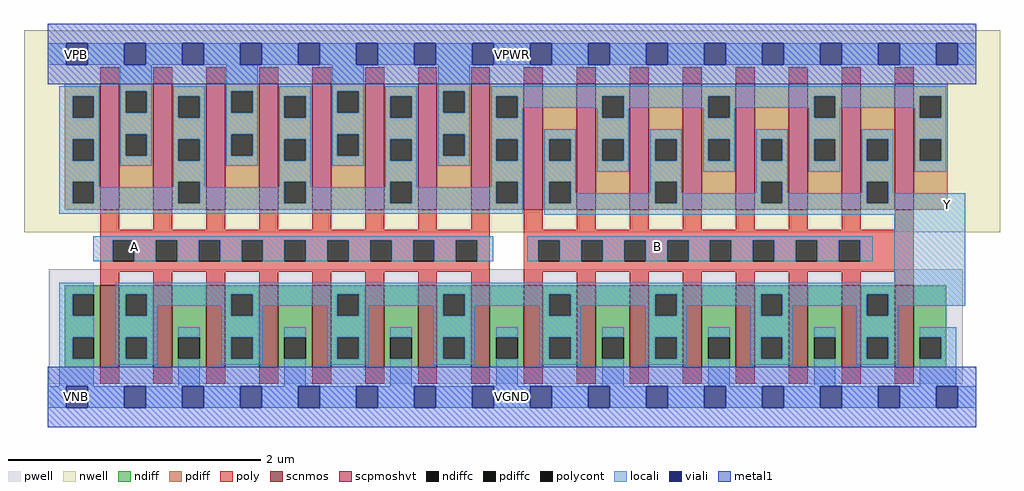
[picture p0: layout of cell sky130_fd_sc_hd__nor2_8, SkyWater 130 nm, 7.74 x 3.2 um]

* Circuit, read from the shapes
.subckt sky130_fd_sc_hd__nor2_8 A B VGND VNB VPB VPWR Y
XM1 Y A VGND VNB sky130_fd_pr__nfet_01v8 w=0.65 l=0.15 m=8
XM2 Y B VGND VNB sky130_fd_pr__nfet_01v8 w=0.65 l=0.15 m=8
XM3 VPWR A n1 VPB sky130_fd_pr__pfet_01v8_hvt w=1 l=0.15 m=8
XM4 Y B n1 VPB sky130_fd_pr__pfet_01v8_hvt w=1 l=0.15 m=8
.ends

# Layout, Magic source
magic
tech sky130B
magscale 1 2
<< nwell >>
rect -38 261 1510 582
<< pwell >>
rect 1 21 1451 203
rect 29 -17 63 21
<< scnmos >>
rect 83 47 113 177
rect 167 47 197 177
rect 251 47 281 177
rect 335 47 365 177
rect 419 47 449 177
rect 503 47 533 177
rect 587 47 617 177
rect 671 47 701 177
rect 755 47 785 177
rect 839 47 869 177
rect 923 47 953 177
rect 1007 47 1037 177
rect 1091 47 1121 177
rect 1175 47 1205 177
rect 1259 47 1289 177
rect 1343 47 1373 177
<< scpmoshvt >>
rect 83 297 113 497
rect 167 297 197 497
rect 251 297 281 497
rect 335 297 365 497
rect 419 297 449 497
rect 503 297 533 497
rect 587 297 617 497
rect 671 297 701 497
rect 755 297 785 497
rect 839 297 869 497
rect 923 297 953 497
rect 1007 297 1037 497
rect 1091 297 1121 497
rect 1175 297 1205 497
rect 1259 297 1289 497
rect 1343 297 1373 497
<< ndiff >>
rect 27 163 83 177
rect 27 129 39 163
rect 73 129 83 163
rect 27 95 83 129
rect 27 61 39 95
rect 73 61 83 95
rect 27 47 83 61
rect 113 163 167 177
rect 113 129 123 163
rect 157 129 167 163
rect 113 95 167 129
rect 113 61 123 95
rect 157 61 167 95
rect 113 47 167 61
rect 197 95 251 177
rect 197 61 207 95
rect 241 61 251 95
rect 197 47 251 61
rect 281 163 335 177
rect 281 129 291 163
rect 325 129 335 163
rect 281 95 335 129
rect 281 61 291 95
rect 325 61 335 95
rect 281 47 335 61
rect 365 95 419 177
rect 365 61 375 95
rect 409 61 419 95
rect 365 47 419 61
rect 449 163 503 177
rect 449 129 459 163
rect 493 129 503 163
rect 449 95 503 129
rect 449 61 459 95
rect 493 61 503 95
rect 449 47 503 61
rect 533 95 587 177
rect 533 61 543 95
rect 577 61 587 95
rect 533 47 587 61
rect 617 163 671 177
rect 617 129 627 163
rect 661 129 671 163
rect 617 95 671 129
rect 617 61 627 95
rect 661 61 671 95
rect 617 47 671 61
rect 701 95 755 177
rect 701 61 711 95
rect 745 61 755 95
rect 701 47 755 61
rect 785 163 839 177
rect 785 129 795 163
rect 829 129 839 163
rect 785 95 839 129
rect 785 61 795 95
rect 829 61 839 95
rect 785 47 839 61
rect 869 95 923 177
rect 869 61 879 95
rect 913 61 923 95
rect 869 47 923 61
rect 953 163 1007 177
rect 953 129 963 163
rect 997 129 1007 163
rect 953 95 1007 129
rect 953 61 963 95
rect 997 61 1007 95
rect 953 47 1007 61
rect 1037 95 1091 177
rect 1037 61 1047 95
rect 1081 61 1091 95
rect 1037 47 1091 61
rect 1121 163 1175 177
rect 1121 129 1131 163
rect 1165 129 1175 163
rect 1121 95 1175 129
rect 1121 61 1131 95
rect 1165 61 1175 95
rect 1121 47 1175 61
rect 1205 95 1259 177
rect 1205 61 1215 95
rect 1249 61 1259 95
rect 1205 47 1259 61
rect 1289 163 1343 177
rect 1289 129 1299 163
rect 1333 129 1343 163
rect 1289 95 1343 129
rect 1289 61 1299 95
rect 1333 61 1343 95
rect 1289 47 1343 61
rect 1373 95 1425 177
rect 1373 61 1383 95
rect 1417 61 1425 95
rect 1373 47 1425 61
<< pdiff >>
rect 27 477 83 497
rect 27 443 39 477
rect 73 443 83 477
rect 27 409 83 443
rect 27 375 39 409
rect 73 375 83 409
rect 27 341 83 375
rect 27 307 39 341
rect 73 307 83 341
rect 27 297 83 307
rect 113 485 167 497
rect 113 451 123 485
rect 157 451 167 485
rect 113 417 167 451
rect 113 383 123 417
rect 157 383 167 417
rect 113 297 167 383
rect 197 477 251 497
rect 197 443 207 477
rect 241 443 251 477
rect 197 409 251 443
rect 197 375 207 409
rect 241 375 251 409
rect 197 341 251 375
rect 197 307 207 341
rect 241 307 251 341
rect 197 297 251 307
rect 281 485 335 497
rect 281 451 291 485
rect 325 451 335 485
rect 281 417 335 451
rect 281 383 291 417
rect 325 383 335 417
rect 281 297 335 383
rect 365 477 419 497
rect 365 443 375 477
rect 409 443 419 477
rect 365 409 419 443
rect 365 375 375 409
rect 409 375 419 409
rect 365 341 419 375
rect 365 307 375 341
rect 409 307 419 341
rect 365 297 419 307
rect 449 485 503 497
rect 449 451 459 485
rect 493 451 503 485
rect 449 417 503 451
rect 449 383 459 417
rect 493 383 503 417
rect 449 297 503 383
rect 533 477 587 497
rect 533 443 543 477
rect 577 443 587 477
rect 533 409 587 443
rect 533 375 543 409
rect 577 375 587 409
rect 533 341 587 375
rect 533 307 543 341
rect 577 307 587 341
rect 533 297 587 307
rect 617 485 671 497
rect 617 451 627 485
rect 661 451 671 485
rect 617 417 671 451
rect 617 383 627 417
rect 661 383 671 417
rect 617 297 671 383
rect 701 477 755 497
rect 701 443 711 477
rect 745 443 755 477
rect 701 409 755 443
rect 701 375 711 409
rect 745 375 755 409
rect 701 341 755 375
rect 701 307 711 341
rect 745 307 755 341
rect 701 297 755 307
rect 785 409 839 497
rect 785 375 795 409
rect 829 375 839 409
rect 785 341 839 375
rect 785 307 795 341
rect 829 307 839 341
rect 785 297 839 307
rect 869 477 923 497
rect 869 443 879 477
rect 913 443 923 477
rect 869 409 923 443
rect 869 375 879 409
rect 913 375 923 409
rect 869 297 923 375
rect 953 409 1007 497
rect 953 375 963 409
rect 997 375 1007 409
rect 953 341 1007 375
rect 953 307 963 341
rect 997 307 1007 341
rect 953 297 1007 307
rect 1037 477 1091 497
rect 1037 443 1047 477
rect 1081 443 1091 477
rect 1037 409 1091 443
rect 1037 375 1047 409
rect 1081 375 1091 409
rect 1037 297 1091 375
rect 1121 409 1175 497
rect 1121 375 1131 409
rect 1165 375 1175 409
rect 1121 341 1175 375
rect 1121 307 1131 341
rect 1165 307 1175 341
rect 1121 297 1175 307
rect 1205 477 1259 497
rect 1205 443 1215 477
rect 1249 443 1259 477
rect 1205 409 1259 443
rect 1205 375 1215 409
rect 1249 375 1259 409
rect 1205 297 1259 375
rect 1289 409 1343 497
rect 1289 375 1299 409
rect 1333 375 1343 409
rect 1289 341 1343 375
rect 1289 307 1299 341
rect 1333 307 1343 341
rect 1289 297 1343 307
rect 1373 477 1427 497
rect 1373 443 1383 477
rect 1417 443 1427 477
rect 1373 409 1427 443
rect 1373 375 1383 409
rect 1417 375 1427 409
rect 1373 297 1427 375
<< ndiffc >>
rect 39 129 73 163
rect 39 61 73 95
rect 123 129 157 163
rect 123 61 157 95
rect 207 61 241 95
rect 291 129 325 163
rect 291 61 325 95
rect 375 61 409 95
rect 459 129 493 163
rect 459 61 493 95
rect 543 61 577 95
rect 627 129 661 163
rect 627 61 661 95
rect 711 61 745 95
rect 795 129 829 163
rect 795 61 829 95
rect 879 61 913 95
rect 963 129 997 163
rect 963 61 997 95
rect 1047 61 1081 95
rect 1131 129 1165 163
rect 1131 61 1165 95
rect 1215 61 1249 95
rect 1299 129 1333 163
rect 1299 61 1333 95
rect 1383 61 1417 95
<< pdiffc >>
rect 39 443 73 477
rect 39 375 73 409
rect 39 307 73 341
rect 123 451 157 485
rect 123 383 157 417
rect 207 443 241 477
rect 207 375 241 409
rect 207 307 241 341
rect 291 451 325 485
rect 291 383 325 417
rect 375 443 409 477
rect 375 375 409 409
rect 375 307 409 341
rect 459 451 493 485
rect 459 383 493 417
rect 543 443 577 477
rect 543 375 577 409
rect 543 307 577 341
rect 627 451 661 485
rect 627 383 661 417
rect 711 443 745 477
rect 711 375 745 409
rect 711 307 745 341
rect 795 375 829 409
rect 795 307 829 341
rect 879 443 913 477
rect 879 375 913 409
rect 963 375 997 409
rect 963 307 997 341
rect 1047 443 1081 477
rect 1047 375 1081 409
rect 1131 375 1165 409
rect 1131 307 1165 341
rect 1215 443 1249 477
rect 1215 375 1249 409
rect 1299 375 1333 409
rect 1299 307 1333 341
rect 1383 443 1417 477
rect 1383 375 1417 409
<< poly >>
rect 83 497 113 523
rect 167 497 197 523
rect 251 497 281 523
rect 335 497 365 523
rect 419 497 449 523
rect 503 497 533 523
rect 587 497 617 523
rect 671 497 701 523
rect 755 497 785 523
rect 839 497 869 523
rect 923 497 953 523
rect 1007 497 1037 523
rect 1091 497 1121 523
rect 1175 497 1205 523
rect 1259 497 1289 523
rect 1343 497 1373 523
rect 83 265 113 297
rect 167 265 197 297
rect 251 265 281 297
rect 335 265 365 297
rect 419 265 449 297
rect 503 265 533 297
rect 587 265 617 297
rect 671 265 701 297
rect 83 249 701 265
rect 83 215 103 249
rect 137 215 171 249
rect 205 215 239 249
rect 273 215 307 249
rect 341 215 375 249
rect 409 215 443 249
rect 477 215 511 249
rect 545 215 579 249
rect 613 215 647 249
rect 681 215 701 249
rect 83 199 701 215
rect 83 177 113 199
rect 167 177 197 199
rect 251 177 281 199
rect 335 177 365 199
rect 419 177 449 199
rect 503 177 533 199
rect 587 177 617 199
rect 671 177 701 199
rect 755 265 785 297
rect 839 265 869 297
rect 923 265 953 297
rect 1007 265 1037 297
rect 1091 265 1121 297
rect 1175 265 1205 297
rect 1259 265 1289 297
rect 1343 265 1373 297
rect 755 249 1373 265
rect 755 215 778 249
rect 812 215 846 249
rect 880 215 914 249
rect 948 215 982 249
rect 1016 215 1050 249
rect 1084 215 1118 249
rect 1152 215 1186 249
rect 1220 215 1254 249
rect 1288 215 1373 249
rect 755 199 1373 215
rect 755 177 785 199
rect 839 177 869 199
rect 923 177 953 199
rect 1007 177 1037 199
rect 1091 177 1121 199
rect 1175 177 1205 199
rect 1259 177 1289 199
rect 1343 177 1373 199
rect 83 21 113 47
rect 167 21 197 47
rect 251 21 281 47
rect 335 21 365 47
rect 419 21 449 47
rect 503 21 533 47
rect 587 21 617 47
rect 671 21 701 47
rect 755 21 785 47
rect 839 21 869 47
rect 923 21 953 47
rect 1007 21 1037 47
rect 1091 21 1121 47
rect 1175 21 1205 47
rect 1259 21 1289 47
rect 1343 21 1373 47
<< polycont >>
rect 103 215 137 249
rect 171 215 205 249
rect 239 215 273 249
rect 307 215 341 249
rect 375 215 409 249
rect 443 215 477 249
rect 511 215 545 249
rect 579 215 613 249
rect 647 215 681 249
rect 778 215 812 249
rect 846 215 880 249
rect 914 215 948 249
rect 982 215 1016 249
rect 1050 215 1084 249
rect 1118 215 1152 249
rect 1186 215 1220 249
rect 1254 215 1288 249
<< locali >>
rect 0 527 29 561
rect 63 527 121 561
rect 155 527 213 561
rect 247 527 305 561
rect 339 527 397 561
rect 431 527 489 561
rect 523 527 581 561
rect 615 527 673 561
rect 707 527 765 561
rect 799 527 857 561
rect 891 527 949 561
rect 983 527 1041 561
rect 1075 527 1133 561
rect 1167 527 1225 561
rect 1259 527 1317 561
rect 1351 527 1409 561
rect 1443 527 1472 561
rect 18 477 81 493
rect 18 443 39 477
rect 73 443 81 477
rect 18 409 81 443
rect 18 375 39 409
rect 73 375 81 409
rect 18 341 81 375
rect 115 485 165 527
rect 115 451 123 485
rect 157 451 165 485
rect 115 417 165 451
rect 115 383 123 417
rect 157 383 165 417
rect 115 367 165 383
rect 199 477 249 493
rect 199 443 207 477
rect 241 443 249 477
rect 199 409 249 443
rect 199 375 207 409
rect 241 375 249 409
rect 18 307 39 341
rect 73 333 81 341
rect 199 341 249 375
rect 283 485 333 527
rect 283 451 291 485
rect 325 451 333 485
rect 283 417 333 451
rect 283 383 291 417
rect 325 383 333 417
rect 283 367 333 383
rect 367 477 417 493
rect 367 443 375 477
rect 409 443 417 477
rect 367 409 417 443
rect 367 375 375 409
rect 409 375 417 409
rect 199 333 207 341
rect 73 307 207 333
rect 241 333 249 341
rect 367 341 417 375
rect 451 485 501 527
rect 451 451 459 485
rect 493 451 501 485
rect 451 417 501 451
rect 451 383 459 417
rect 493 383 501 417
rect 451 367 501 383
rect 535 477 585 493
rect 535 443 543 477
rect 577 443 585 477
rect 535 409 585 443
rect 535 375 543 409
rect 577 375 585 409
rect 367 333 375 341
rect 241 307 375 333
rect 409 333 417 341
rect 535 341 585 375
rect 619 485 669 527
rect 619 451 627 485
rect 661 451 669 485
rect 619 417 669 451
rect 619 383 627 417
rect 661 383 669 417
rect 619 367 669 383
rect 703 477 1425 493
rect 703 443 711 477
rect 745 459 879 477
rect 745 443 753 459
rect 703 409 753 443
rect 871 443 879 459
rect 913 459 1047 477
rect 913 443 921 459
rect 703 375 711 409
rect 745 375 753 409
rect 535 333 543 341
rect 409 307 543 333
rect 577 333 585 341
rect 703 341 753 375
rect 703 333 711 341
rect 577 307 711 333
rect 745 307 753 341
rect 18 291 753 307
rect 787 409 837 425
rect 787 375 795 409
rect 829 375 837 409
rect 787 341 837 375
rect 871 409 921 443
rect 1039 443 1047 459
rect 1081 459 1215 477
rect 1081 443 1089 459
rect 871 375 879 409
rect 913 375 921 409
rect 871 357 921 375
rect 955 409 1005 425
rect 955 375 963 409
rect 997 375 1005 409
rect 787 307 795 341
rect 829 323 837 341
rect 955 341 1005 375
rect 1039 409 1089 443
rect 1207 443 1215 459
rect 1249 459 1383 477
rect 1249 443 1257 459
rect 1039 375 1047 409
rect 1081 375 1089 409
rect 1039 357 1089 375
rect 1123 409 1173 425
rect 1123 375 1131 409
rect 1165 375 1173 409
rect 955 323 963 341
rect 829 307 963 323
rect 997 323 1005 341
rect 1123 341 1173 375
rect 1207 409 1257 443
rect 1375 443 1383 459
rect 1417 443 1425 477
rect 1207 375 1215 409
rect 1249 375 1257 409
rect 1207 357 1257 375
rect 1291 409 1341 425
rect 1291 375 1299 409
rect 1333 375 1341 409
rect 1123 323 1131 341
rect 997 307 1131 323
rect 1165 323 1173 341
rect 1291 341 1341 375
rect 1375 409 1425 443
rect 1375 375 1383 409
rect 1417 375 1425 409
rect 1375 357 1425 375
rect 1291 323 1299 341
rect 1165 307 1299 323
rect 1333 323 1341 341
rect 1333 307 1455 323
rect 787 289 1455 307
rect 72 249 706 255
rect 72 215 103 249
rect 137 215 171 249
rect 205 215 239 249
rect 273 215 307 249
rect 341 215 375 249
rect 409 215 443 249
rect 477 215 511 249
rect 545 215 579 249
rect 613 215 647 249
rect 681 215 706 249
rect 760 249 1308 255
rect 760 215 778 249
rect 812 215 846 249
rect 880 215 914 249
rect 948 215 982 249
rect 1016 215 1050 249
rect 1084 215 1118 249
rect 1152 215 1186 249
rect 1220 215 1254 249
rect 1288 215 1308 249
rect 1342 181 1455 289
rect 18 163 73 181
rect 18 129 39 163
rect 18 95 73 129
rect 18 61 39 95
rect 18 17 73 61
rect 107 163 1455 181
rect 107 129 123 163
rect 157 145 291 163
rect 157 129 173 145
rect 107 95 173 129
rect 275 129 291 145
rect 325 145 459 163
rect 325 129 341 145
rect 107 61 123 95
rect 157 61 173 95
rect 107 51 173 61
rect 207 95 241 111
rect 207 17 241 61
rect 275 95 341 129
rect 443 129 459 145
rect 493 145 627 163
rect 493 129 509 145
rect 275 61 291 95
rect 325 61 341 95
rect 275 51 341 61
rect 375 95 409 111
rect 375 17 409 61
rect 443 95 509 129
rect 611 129 627 145
rect 661 145 795 163
rect 661 129 677 145
rect 443 61 459 95
rect 493 61 509 95
rect 443 51 509 61
rect 543 95 577 111
rect 543 17 577 61
rect 611 95 677 129
rect 779 129 795 145
rect 829 145 963 163
rect 829 129 845 145
rect 611 61 627 95
rect 661 61 677 95
rect 611 51 677 61
rect 711 95 745 111
rect 711 17 745 61
rect 779 95 845 129
rect 947 129 963 145
rect 997 145 1131 163
rect 997 129 1013 145
rect 779 61 795 95
rect 829 61 845 95
rect 779 51 845 61
rect 879 95 913 111
rect 879 17 913 61
rect 947 95 1013 129
rect 1115 129 1131 145
rect 1165 145 1299 163
rect 1165 129 1181 145
rect 947 61 963 95
rect 997 61 1013 95
rect 947 51 1013 61
rect 1047 95 1081 111
rect 1047 17 1081 61
rect 1115 95 1181 129
rect 1283 129 1299 145
rect 1333 145 1455 163
rect 1333 129 1349 145
rect 1115 61 1131 95
rect 1165 61 1181 95
rect 1115 51 1181 61
rect 1215 95 1249 111
rect 1215 17 1249 61
rect 1283 95 1349 129
rect 1283 61 1299 95
rect 1333 61 1349 95
rect 1283 51 1349 61
rect 1383 95 1441 111
rect 1417 61 1441 95
rect 1383 17 1441 61
rect 0 -17 29 17
rect 63 -17 121 17
rect 155 -17 213 17
rect 247 -17 305 17
rect 339 -17 397 17
rect 431 -17 489 17
rect 523 -17 581 17
rect 615 -17 673 17
rect 707 -17 765 17
rect 799 -17 857 17
rect 891 -17 949 17
rect 983 -17 1041 17
rect 1075 -17 1133 17
rect 1167 -17 1225 17
rect 1259 -17 1317 17
rect 1351 -17 1409 17
rect 1443 -17 1472 17
<< viali >>
rect 29 527 63 561
rect 121 527 155 561
rect 213 527 247 561
rect 305 527 339 561
rect 397 527 431 561
rect 489 527 523 561
rect 581 527 615 561
rect 673 527 707 561
rect 765 527 799 561
rect 857 527 891 561
rect 949 527 983 561
rect 1041 527 1075 561
rect 1133 527 1167 561
rect 1225 527 1259 561
rect 1317 527 1351 561
rect 1409 527 1443 561
rect 29 -17 63 17
rect 121 -17 155 17
rect 213 -17 247 17
rect 305 -17 339 17
rect 397 -17 431 17
rect 489 -17 523 17
rect 581 -17 615 17
rect 673 -17 707 17
rect 765 -17 799 17
rect 857 -17 891 17
rect 949 -17 983 17
rect 1041 -17 1075 17
rect 1133 -17 1167 17
rect 1225 -17 1259 17
rect 1317 -17 1351 17
rect 1409 -17 1443 17
<< metal1 >>
rect 0 561 1472 592
rect 0 527 29 561
rect 63 527 121 561
rect 155 527 213 561
rect 247 527 305 561
rect 339 527 397 561
rect 431 527 489 561
rect 523 527 581 561
rect 615 527 673 561
rect 707 527 765 561
rect 799 527 857 561
rect 891 527 949 561
rect 983 527 1041 561
rect 1075 527 1133 561
rect 1167 527 1225 561
rect 1259 527 1317 561
rect 1351 527 1409 561
rect 1443 527 1472 561
rect 0 496 1472 527
rect 0 17 1472 48
rect 0 -17 29 17
rect 63 -17 121 17
rect 155 -17 213 17
rect 247 -17 305 17
rect 339 -17 397 17
rect 431 -17 489 17
rect 523 -17 581 17
rect 615 -17 673 17
rect 707 -17 765 17
rect 799 -17 857 17
rect 891 -17 949 17
rect 983 -17 1041 17
rect 1075 -17 1133 17
rect 1167 -17 1225 17
rect 1259 -17 1317 17
rect 1351 -17 1409 17
rect 1443 -17 1472 17
rect 0 -48 1472 -17
<< labels >>
flabel locali s 1409 289 1443 323 0 FreeSans 400 0 0 0 Y
port 7 nsew signal output
flabel locali s 121 221 155 255 0 FreeSans 400 0 0 0 A
port 1 nsew signal input
flabel locali s 949 221 983 255 0 FreeSans 400 0 0 0 B
port 2 nsew signal input
flabel nwell s 29 527 63 561 0 FreeSans 200 0 0 0 VPB
port 5 nsew power bidirectional
flabel pwell s 29 -17 63 17 0 FreeSans 200 0 0 0 VNB
port 4 nsew ground bidirectional
flabel metal1 s 29 -17 63 17 0 FreeSans 200 0 0 0 VGND
port 3 nsew ground bidirectional abutment
flabel metal1 s 29 527 63 561 0 FreeSans 200 0 0 0 VPWR
port 6 nsew power bidirectional abutment
rlabel comment s 0 0 0 0 4 nor2_8
rlabel metal1 s 0 -48 1472 48 1 VGND
port 3 nsew ground bidirectional abutment
rlabel metal1 s 0 496 1472 592 1 VPWR
port 6 nsew power bidirectional abutment
<< properties >>
string FIXED_BBOX 0 0 1472 544
string GDS_END 1976198
string GDS_FILE $PDKPATH/libs.ref/sky130_fd_sc_hd/gds/sky130_fd_sc_hd.gds
string GDS_START 1964800
string LEFclass CORE
string LEFsite unithd
string LEFsymmetry X Y R90
string path 0.000 0.000 36.800 0.000 
<< end >>
